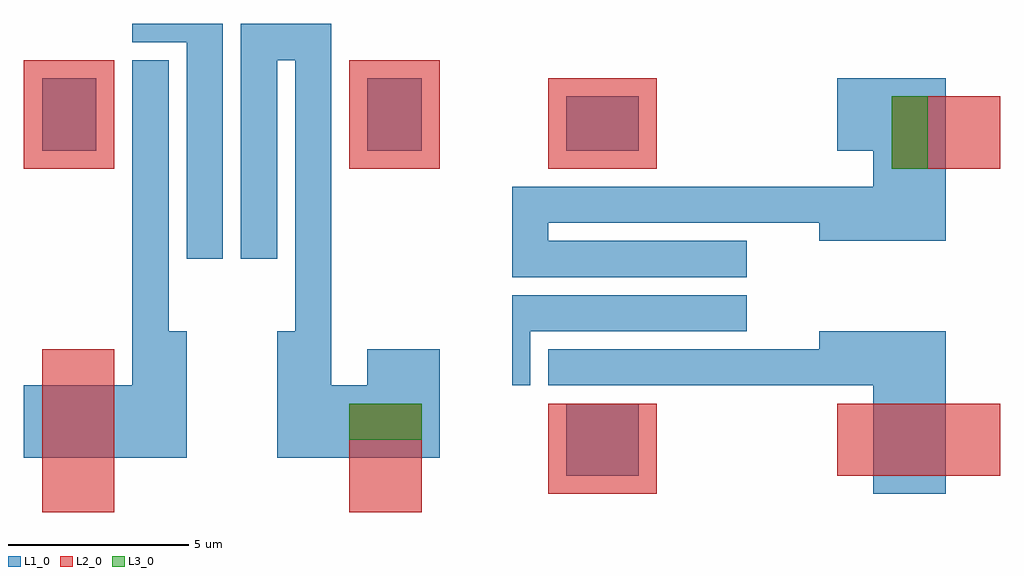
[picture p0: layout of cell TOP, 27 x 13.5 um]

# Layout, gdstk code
from math import pi, radians
import gdstk
lib = gdstk.Library(unit=1e-6, precision=1e-09)
def R(c, l, rs):  # rectangles x0, y0, x1, y1
    for r in rs: c.add(gdstk.rectangle(r[:2], r[2:], *l))
def A(c, l, x, y, w, h, nx, ny, dx, dy):  # array of equal rectangles
    R(c, l, [(x+i*dx, y+j*dy, x+i*dx+w, y+j*dy+h) for i in range(nx) for j in range(ny)])
L1_0 = (1, 0)
L2_0 = (2, 0)
L3_0 = (3, 0)

part = lib.new_cell('PART')
R(part, L1_0, [(0,0,1,5.5)])

child = lib.new_cell('CHILD')
R(child, L1_0, [(-0.5,-5.5,0,-2), (1,-5.5,4,-3.5), (2,3,3.5,5)])
R(child, L2_0, [(1.5,-7,3.5,-4), (1.5,2.5,4,5.5)])
child.add(gdstk.Reference(part, (0,0)))
child.add(gdstk.Reference(part, (0,-5.5)))
child.add(gdstk.Reference(part, (-1.5,0)))

top = lib.new_cell('TOP')
A(top, L1_0, 7, -3.5, 5.5, 1, 1, 4, 0, 1.5)
R(top, L1_0, [(16,-6.5,18,-3.5), (7.5,-6,9.5,-4), (2,-3.5,4,-2.5), (6,-3.5,6.5,-2), (12.5,-3.5,18,-2.5), (14.5,-2.5,18,-2), (6,-2,7,-1), (6,-0.5,7,2), (14.5,0.5,18,1), (12.5,1,18,2), (16,2,18,5), (7.5,3,9.5,4.5), (15,3,16,5), (-3,5.5,-2,6.5), (-1.5,5.5,1,6.5), (-4.5,6,-3,6.5)])
R(top, L2_0, [(7,-6.5,10,-4), (15,-6,16.5,-4), (16.5,-6,19.5,-4), (-7,-4,-5,-2.5), (7,2.5,10,5), (16.5,2.5,19.5,4.5)])
R(top, L3_0, [(1.5,-5,3.5,-4), (16.5,2.5,17.5,4.5)])
top.add(gdstk.Reference(child, (0,0)))
top.add(gdstk.Reference(child, (-3.5,0), rotation=pi, x_reflection=True))

lib.write_gds('TOP.gds')
